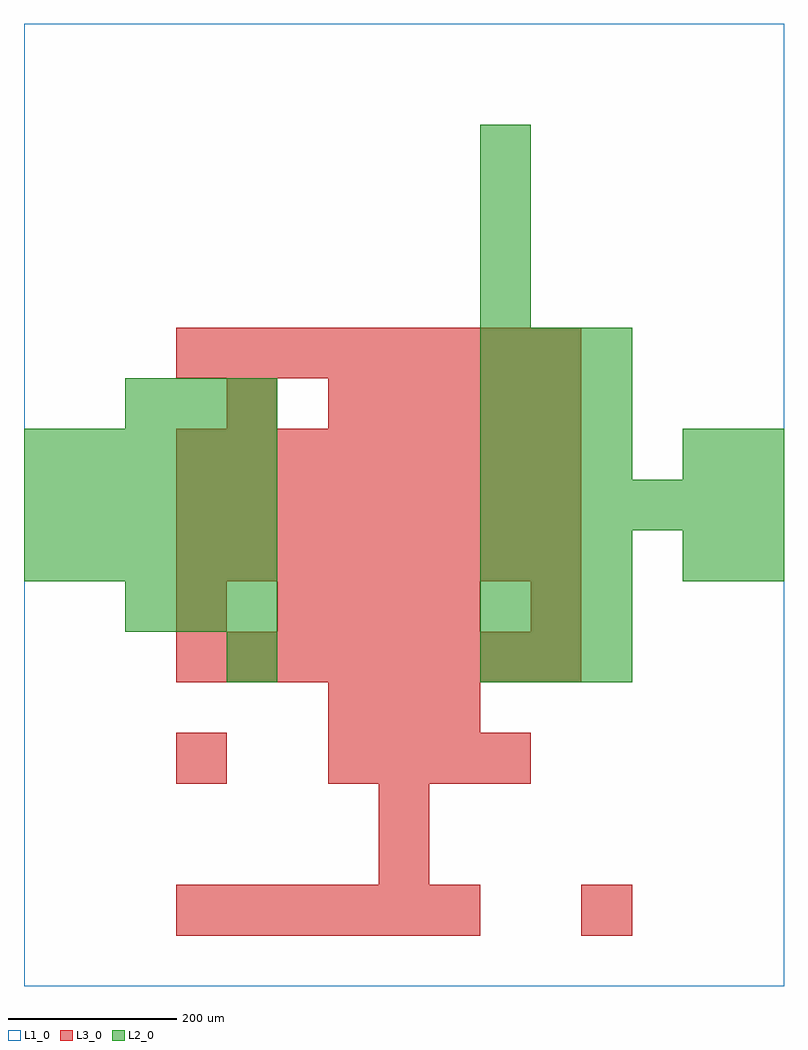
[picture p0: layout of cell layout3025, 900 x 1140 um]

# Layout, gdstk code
import gdstk
lib = gdstk.Library(unit=1e-6, precision=1e-09)
def R(c, l, rs):  # rectangles x0, y0, x1, y1
    for r in rs: c.add(gdstk.rectangle(r[:2], r[2:], *l))
def A(c, l, x, y, w, h, nx, ny, dx, dy):  # array of equal rectangles
    R(c, l, [(x+i*dx, y+j*dy, x+i*dx+w, y+j*dy+h) for i in range(nx) for j in range(ny)])
L1_0 = (1, 0)
L2_0 = (2, 0)
L3_0 = (3, 0)

layout3025 = lib.new_cell('layout3025')
R(layout3025, L1_0, [(0,0,900,1140)])
A(layout3025, L2_0, 540, 360, 60, 60, 3, 3, 60, 60)
A(layout3025, L2_0, 120, 420, 60, 60, 3, 2, 60, 240)
A(layout3025, L2_0, 0, 480, 60, 60, 5, 3, 60, 60)
A(layout3025, L2_0, 540, 540, 60, 60, 6, 1, 60, 0)
A(layout3025, L2_0, 540, 600, 60, 60, 3, 3, 60, 60)
A(layout3025, L2_0, 540, 780, 60, 60, 1, 4, 0, 60)
R(layout3025, L2_0, [(240,360,300,420), (780,480,840,540), (840,480,900,540), (780,600,840,660), (840,600,900,660)])
A(layout3025, L3_0, 180, 60, 60, 60, 6, 1, 60, 0)
A(layout3025, L3_0, 360, 240, 60, 60, 4, 1, 60, 0)
A(layout3025, L3_0, 360, 300, 60, 60, 3, 1, 60, 0)
A(layout3025, L3_0, 180, 360, 60, 60, 8, 2, 60, 120)
A(layout3025, L3_0, 300, 420, 60, 60, 4, 1, 60, 0)
A(layout3025, L3_0, 180, 540, 60, 60, 8, 2, 60, 60)
A(layout3025, L3_0, 360, 660, 60, 60, 5, 1, 60, 0)
A(layout3025, L3_0, 180, 720, 60, 60, 8, 1, 60, 0)
R(layout3025, L3_0, [(660,60,720,120), (420,120,480,180), (420,180,480,240), (180,240,240,300), (180,420,240,480), (600,420,660,480), (240,660,300,720)])

lib.write_gds('layout3025.gds')
